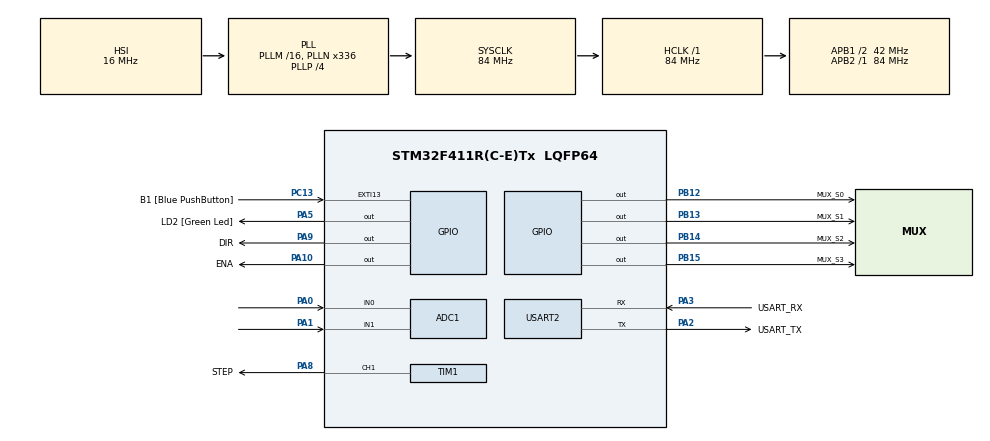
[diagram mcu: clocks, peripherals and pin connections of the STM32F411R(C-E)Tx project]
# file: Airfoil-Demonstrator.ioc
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ADC1.Channel-0\#ChannelRegularConversion=ADC_CHANNEL_0
ADC1.Channel-1\#ChannelRegularConversion=ADC_CHANNEL_1
ADC1.NbrOfConversion=2
ADC1.NbrOfConversionFlag=1
ADC1.Rank-0\#ChannelRegularConversion=1
ADC1.Rank-1\#ChannelRegularConversion=2
ADC1.SamplingTime-0\#ChannelRegularConversion=ADC_SAMPLETIME_480CYCLES
ADC1.SamplingTime-1\#ChannelRegularConversion=ADC_SAMPLETIME_480CYCLES
ADC1.ScanConvMode=ENABLE
ADC1.master=1
Mcu.Family=STM32F4
Mcu.Name=STM32F411R(C-E)Tx
Mcu.Package=LQFP64
NVIC.PriorityGroup=NVIC_PRIORITYGROUP_0
NVIC.TIM1_UP_TIM10_IRQn=true\:0\:0\:false\:false\:true\:true\:true\:true
NVIC.USART2_IRQn=true\:0\:0\:false\:false\:true\:true\:true\:true
PA0-WKUP.Signal=ADCx_IN0
PA1.Signal=ADCx_IN1
PA10.GPIO_Label=ENA
PA10.GPIO_ModeDefaultOutputPP=GPIO_MODE_OUTPUT_OD
PA10.GPIO_PuPd=GPIO_NOPULL
PA10.PinState=GPIO_PIN_SET
PA10.Signal=GPIO_Output
PA13.GPIO_Label=TMS
PA13.Mode=Serial_Wire
PA13.Signal=SYS_JTMS-SWDIO
PA14.GPIO_Label=TCK
PA14.Mode=Serial_Wire
PA14.Signal=SYS_JTCK-SWCLK
PA2.GPIO_Label=USART_TX
PA2.Mode=Asynchronous
PA2.Signal=USART2_TX
PA3.GPIO_Label=USART_RX
PA3.Mode=Asynchronous
PA3.Signal=USART2_RX
PA5.GPIO_Label=LD2 [Green Led]
PA5.Signal=GPIO_Output
PA8.GPIO_Label=STEP
PA8.Signal=S_TIM1_CH1
PA9.GPIO_Label=DIR
PA9.GPIO_ModeDefaultOutputPP=GPIO_MODE_OUTPUT_OD
PA9.GPIO_PuPd=GPIO_NOPULL
PA9.PinState=GPIO_PIN_SET
PA9.Signal=GPIO_Output
PB12.GPIO_Label=MUX_S0
PB12.Signal=GPIO_Output
PB13.GPIO_Label=MUX_S1
PB13.Signal=GPIO_Output
PB14.GPIO_Label=MUX_S2
PB14.Signal=GPIO_Output
PB15.GPIO_Label=MUX_S3
PB15.Signal=GPIO_Output
PB3.GPIO_Label=SWO
PB3.Signal=SYS_JTDO-SWO
PC13-ANTI_TAMP.GPIO_Label=B1 [Blue PushButton]
PC13-ANTI_TAMP.GPIO_ModeDefaultEXTI=GPIO_MODE_IT_FALLING
PC13-ANTI_TAMP.Signal=GPXTI13
PC14-OSC32_IN.Mode=LSE-External-Oscillator
PC14-OSC32_IN.Signal=RCC_OSC32_IN
PC15-OSC32_OUT.Mode=LSE-External-Oscillator
PC15-OSC32_OUT.Signal=RCC_OSC32_OUT
PH0\ -\ OSC_IN.Mode=HSE-External-Clock-Source
PH0\ -\ OSC_IN.Signal=RCC_OSC_IN
PH1\ -\ OSC_OUT.Mode=HSE-External-Clock-Source
PH1\ -\ OSC_OUT.Signal=RCC_OSC_OUT
ProjectManager.HeapSize=0x200
ProjectManager.StackSize=0x400
ProjectManager.TargetToolchain=STM32CubeIDE
RCC.48MHZClocksFreq_Value=84000000
RCC.AHBFreq_Value=84000000
RCC.APB1CLKDivider=RCC_HCLK_DIV2
RCC.APB1Freq_Value=42000000
RCC.APB1TimFreq_Value=84000000
RCC.APB2Freq_Value=84000000
RCC.APB2TimFreq_Value=84000000
RCC.CortexFreq_Value=84000000
RCC.FLatency-AdvancedSettings=FLASH_LATENCY_2
RCC.HCLKFreq_Value=84000000
RCC.HSE_VALUE=8000000
RCC.HSI_VALUE=16000000
RCC.PLLN=336
RCC.PLLP=RCC_PLLP_DIV4
RCC.SYSCLKFreq_VALUE=84000000
RCC.SYSCLKSource=RCC_SYSCLKSOURCE_PLLCLK
RCC.VCOOutputFreq_Value=336000000
SH.ADCx_IN0.0=ADC1_IN0,IN0
SH.ADCx_IN1.0=ADC1_IN1,IN1
SH.S_TIM1_CH1.0=TIM1_CH1,PWM Generation1 CH1
TIM1.Channel-PWM\ Generation1\ CH1=TIM_CHANNEL_1
TIM1.Period=999
TIM1.Prescaler=99
USART2.VirtualMode=VM_ASYNC
VP_TIM1_VS_ClockSourceINT.Mode=Internal
board=NUCLEO-F411RE

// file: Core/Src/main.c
/* USER CODE BEGIN Header */
/**
  ******************************************************************************
  * @file           : main.c
  * @brief          : Main program body
  ******************************************************************************
  * @attention
  *
  * Copyright (c) 2026 STMicroelectronics.
  * All rights reserved.
  *
  * This software is licensed under terms that can be found in the LICENSE file
  * in the root directory of this software component.
  * If no LICENSE file comes with this software, it is provided AS-IS.
  *
  ******************************************************************************
  */
/* USER CODE END Header */
#include "main.h"

/* USER CODE BEGIN Includes */
#include <math.h>
#include <stdio.h>
#include <string.h>
#include <stdlib.h>
/* USER CODE END Includes */

/* USER CODE BEGIN PD */

/* ---- Drive geometry -------------------------------------------------------
 * PULSES_PER_REV must match the CL86Y DIP switches.
 * GEAR_RATIO = wheel teeth / worm starts.
 *   80 teeth, single-start worm -> 80.0
 *   80 teeth, double-start worm -> 40.0
 */
#define PULSES_PER_REV   1600.0f
#define GEAR_RATIO       80.0f
#define STEPS_PER_DEG    (PULSES_PER_REV * GEAR_RATIO / 360.0f)

/* ---- Soft travel limits ---- */
#define AOA_MIN_DEG      -20.0f
#define AOA_MAX_DEG       20.0f

/* ---- Motion profile -------------------------------------------------------
 * Trapezoidal: start slow, accelerate to cruise, decelerate before arrival.
 * A NEMA 34 rotor going from rest to full rate in one step puts a shock
 * through the worm teeth, and the closed-loop driver has to work hard to
 * catch up. Ramping removes both problems and lets the cruise rate be much
 * higher than a fixed rate could safely be.
 *
 * At 5 kHz, 1600 pulses/rev and 80:1, the airfoil moves 14 deg/s, so a full
 * -20 to +20 sweep takes under three seconds.
 */
#define START_RATE_HZ    500u
#define MAX_RATE_HZ      5000u
#define RAMP_STEPS       800u       /* steps spent accelerating */

/* ---- Status stream period ---- */
#define STATUS_MS        100u

/* ---- DIR pin levels. Swap if positive angle drives the wrong way. ---- */
#define DIR_POSITIVE     GPIO_PIN_SET
#define DIR_NEGATIVE     GPIO_PIN_RESET

/* ---- MF (enable). High = opto dark = motor holding. ---- */
#define MOTOR_HOLD       GPIO_PIN_SET
#define MOTOR_RELEASE    GPIO_PIN_RESET

/* ---- Serial line buffer ---- */
#define RX_LINE_MAX      32u

/* ---- Mux scanning ---------------------------------------------------------
 * Two CD74HC4067s share the four select lines, so one address selects a
 * channel on both at once. Each scan step reads both SIG outputs, so 16
 * steps collect 32 channels of which 24 are used:
 *
 *   mux A (PA0) channels 0..11  -> upper surface taps  1..12
 *   mux B (PA1) channels 0..11  -> lower surface taps 13..24
 *   channels 12..15 on both     -> spare
 */
#define MUX_CHANNELS     16u
#define TAPS_PER_MUX     12u
#define MUX_SETTLE_US    10u

/* ---- Position storage -----------------------------------------------------
 * The worm is self-locking, so the airfoil cannot move while the motor is
 * off. That means the angle at power-down is still the angle at power-up,
 * and storing the step count is enough to survive a power cycle without any
 * homing hardware.
 *
 * Sector 7 of the F411RE is 128 KB at 0x08060000, well clear of the program.
 *
 * Records are appended rather than overwriting one location. Flash bits can
 * go 1 -> 0 without an erase, so a fresh record can be written into the next
 * blank slot; only when the sector fills does it need erasing. Erasing on
 * every save would wear the sector out after about ten thousand moves, which
 * is roughly 250 sweeps - reachable within a year of class use. Appending
 * pushes that out by four orders of magnitude.
 */
#define STORE_BASE       0x08060000UL
#define STORE_SECTOR     FLASH_SECTOR_7
#define STORE_SIZE       (128u * 1024u)
#define STORE_MAGIC      0xA5F00FA5UL
#define STORE_SLOTS      (STORE_SIZE / 8u)

/* USER CODE END PD */

ADC_HandleTypeDef hadc1;

TIM_HandleTypeDef htim1;

UART_HandleTypeDef huart2;

/* USER CODE BEGIN PV */
/* Motor state, shared with the TIM1 interrupt */
static volatile int32_t  pos_steps   = 0;
static volatile uint32_t steps_left  = 0;
static volatile uint32_t steps_total = 0;
static volatile uint32_t steps_done  = 0;
static volatile int8_t   step_dir    = 0;
static volatile uint8_t  save_due    = 0;   /* set by ISR, acted on in main */

/* Serial receive, shared with the UART interrupt */
static uint8_t          rx_byte;
static char             rx_line[RX_LINE_MAX];
static volatile uint8_t rx_len = 0;
static volatile uint8_t line_ready = 0;

/* Latest raw ADC counts.
 *   [0..15]  mux A channels 0..15
 *   [16..31] mux B channels 0..15
 */
static uint16_t raw[MUX_CHANNELS * 2];

/* Set by the 'R' command: stream all 32 channels instead of the 24 taps */
static uint8_t raw_mode = 0;

/* Last value written to flash, so unchanged positions are not rewritten */
static int32_t saved_pos = 0;
/* USER CODE END PV */

void SystemClock_Config(void);
static void MX_GPIO_Init(void);
static void MX_USART2_UART_Init(void);
static void MX_TIM1_Init(void);
static void MX_ADC1_Init(void);
/* USER CODE BEGIN PFP */
static void     motor_init(void);
static void     motor_apply_rate(uint32_t hz);
static uint32_t rate_for_step(uint32_t done, uint32_t total);
static int      motor_move_to(float deg);
static void     motor_stop(void);
static int      motor_busy(void);
static float    motor_angle(void);
static void     delay_us(uint32_t us);
static void     mux_select(uint8_t ch);
static void     scan_all(void);
static int32_t  store_load(void);
static void     store_save(int32_t value);
static void     uart_send(const char *s);
static void     send_status(void);
static void     handle_line(char *line);
/* USER CODE END PFP */

/* USER CODE BEGIN 0 */

/* ---- Position storage ----------------------------------------------------*/

/* Walk the sector and return the last valid record, or 0 if there is none. */
static int32_t store_load(void)
{
  const uint32_t *p = (const uint32_t *)STORE_BASE;
  int32_t found = 0;

  for (uint32_t i = 0; i < STORE_SLOTS; i++)
  {
    if (p[i * 2] != STORE_MAGIC) break;      /* first blank slot ends it */
    found = (int32_t)p[i * 2 + 1];
  }
  return found;
}

/* Append a record. Erases and restarts when the sector is full. */
static void store_save(int32_t value)
{
  const uint32_t *p = (const uint32_t *)STORE_BASE;

  uint32_t slot = 0;
  while (slot < STORE_SLOTS && p[slot * 2] == STORE_MAGIC) slot++;

  HAL_FLASH_Unlock();

  if (slot >= STORE_SLOTS)
  {
    FLASH_EraseInitTypeDef er = {0};
    uint32_t err = 0;
    er.TypeErase    = FLASH_TYPEERASE_SECTORS;
    er.Sector       = STORE_SECTOR;
    er.NbSectors    = 1;
    er.VoltageRange = FLASH_VOLTAGE_RANGE_3;
    HAL_FLASHEx_Erase(&er, &err);
    slot = 0;
  }

  uint32_t addr = STORE_BASE + slot * 8u;

  /* Value first, then magic. If power is lost between the two writes the
   * record has no magic and is simply ignored on the next boot, leaving the
   * previous record as the newest valid one.
   */
  HAL_FLASH_Program(FLASH_TYPEPROGRAM_WORD, addr + 4u, (uint32_t)value);
  HAL_FLASH_Program(FLASH_TYPEPROGRAM_WORD, addr, STORE_MAGIC);

  HAL_FLASH_Lock();
  saved_pos = value;
}

/* ---- Motor ---------------------------------------------------------------*/

static void motor_init(void)
{
  __HAL_TIM_SET_PRESCALER(&htim1, 83);          /* 84 MHz -> 1 MHz tick */
  motor_apply_rate(START_RATE_HZ);
  __HAL_TIM_ENABLE_IT(&htim1, TIM_IT_UPDATE);

  HAL_GPIO_WritePin(ENA_GPIO_Port, ENA_Pin, MOTOR_HOLD);
  HAL_GPIO_WritePin(DIR_GPIO_Port, DIR_Pin, DIR_POSITIVE);
}

/* With auto-reload preload enabled these take effect at the next update
 * event, so the pulse currently in flight is never truncated.
 */
static void motor_apply_rate(uint32_t hz)
{
  uint32_t arr = (1000000u / hz) - 1u;
  __HAL_TIM_SET_AUTORELOAD(&htim1, arr);
  __HAL_TIM_SET_COMPARE(&htim1, TIM_CHANNEL_1, (arr + 1u) / 2u);
}

/* Trapezoidal profile. Ramp length is halved for short moves so the
 * acceleration and deceleration phases never overlap.
 */
static uint32_t rate_for_step(uint32_t done, uint32_t total)
{
  uint32_t ramp = RAMP_STEPS;
  if (ramp > total / 2u) ramp = total / 2u;
  if (ramp == 0u) return START_RATE_HZ;     /* move too short to ramp */

  uint32_t remaining = total - done;
  uint32_t phase;

  if (done < ramp)            phase = done;         /* accelerating */
  else if (remaining <= ramp) phase = remaining;    /* decelerating */
  else                        return MAX_RATE_HZ;   /* cruising     */

  return START_RATE_HZ + (MAX_RATE_HZ - START_RATE_HZ) * phase / ramp;
}

/* Absolute move, non-blocking. Returns 0 on success, -1 if already moving.
 * Target is computed fresh from the angle every time, never accumulated, so
 * rounding error stays under one step however long the rig runs.
 */
static int motor_move_to(float deg)
{
  if (motor_busy()) return -1;

  if (deg < AOA_MIN_DEG) deg = AOA_MIN_DEG;
  if (deg > AOA_MAX_DEG) deg = AOA_MAX_DEG;

  int32_t target = (int32_t)lroundf(deg * STEPS_PER_DEG);
  int32_t delta  = target - pos_steps;
  if (delta == 0) return 0;

  step_dir = (delta > 0) ? 1 : -1;
  HAL_GPIO_WritePin(DIR_GPIO_Port, DIR_Pin,
                    (delta > 0) ? DIR_POSITIVE : DIR_NEGATIVE);

  for (volatile int i = 0; i < 500; i++) { __NOP(); }  /* DIR setup time */

  steps_total = (uint32_t)((delta > 0) ? delta : -delta);
  steps_done  = 0;
  steps_left  = steps_total;

  motor_apply_rate(START_RATE_HZ);
  __HAL_TIM_SET_COUNTER(&htim1, 0);
  HAL_TIM_PWM_Start(&htim1, TIM_CHANNEL_1);
  return 0;
}

static void motor_stop(void)
{
  HAL_TIM_PWM_Stop(&htim1, TIM_CHANNEL_1);
  steps_left = 0;
  save_due = 1;
}

static int motor_busy(void)
{
  return (steps_left > 0);
}

static float motor_angle(void)
{
  return (float)pos_steps / STEPS_PER_DEG;
}

/* One step per timer update. The rate for the next step is computed here,
 * which is what produces the ramp.
 */
void HAL_TIM_PeriodElapsedCallback(TIM_HandleTypeDef *htim)
{
  if (htim->Instance != TIM1) return;
  if (steps_left == 0) return;

  pos_steps += step_dir;
  steps_done++;
  steps_left--;

  if (steps_left == 0)
  {
    HAL_TIM_PWM_Stop(&htim1, TIM_CHANNEL_1);
    save_due = 1;                 /* flash write happens in the main loop */
  }
  else
  {
    motor_apply_rate(rate_for_step(steps_done, steps_total));
  }
}

/* ---- Mux scanning --------------------------------------------------------*/

/* Short busy-wait. HAL_Delay only resolves to 1 ms, which would stretch a
 * full scan from a few hundred microseconds to 16 ms.
 */
static void delay_us(uint32_t us)
{
  uint32_t cycles = us * (SystemCoreClock / 1000000u) / 4u;
  while (cycles--) { __NOP(); }
}

/* Write a 4-bit channel address. S0 is the least significant bit. Get this
 * backwards and every tap ends up at the wrong chord position, which is very
 * hard to spot once 24 tubes are connected.
 */
static void mux_select(uint8_t ch)
{
  HAL_GPIO_WritePin(MUX_S0_GPIO_Port, MUX_S0_Pin,
                    (ch & 0x01) ? GPIO_PIN_SET : GPIO_PIN_RESET);
  HAL_GPIO_WritePin(MUX_S1_GPIO_Port, MUX_S1_Pin,
                    (ch & 0x02) ? GPIO_PIN_SET : GPIO_PIN_RESET);
  HAL_GPIO_WritePin(MUX_S2_GPIO_Port, MUX_S2_Pin,
                    (ch & 0x04) ? GPIO_PIN_SET : GPIO_PIN_RESET);
  HAL_GPIO_WritePin(MUX_S3_GPIO_Port, MUX_S3_Pin,
                    (ch & 0x08) ? GPIO_PIN_SET : GPIO_PIN_RESET);
}

/* One full pass: 16 addresses, both ADC inputs read at each. */
static void scan_all(void)
{
  for (uint8_t ch = 0; ch < MUX_CHANNELS; ch++)
  {
    mux_select(ch);
    delay_us(MUX_SETTLE_US);

    HAL_ADC_Start(&hadc1);

    /* Rank 1 = PA0 = mux A */
    if (HAL_ADC_PollForConversion(&hadc1, 5) == HAL_OK)
      raw[ch] = (uint16_t)HAL_ADC_GetValue(&hadc1);

    /* Rank 2 = PA1 = mux B */
    if (HAL_ADC_PollForConversion(&hadc1, 5) == HAL_OK)
      raw[MUX_CHANNELS + ch] = (uint16_t)HAL_ADC_GetValue(&hadc1);

    HAL_ADC_Stop(&hadc1);
  }
}

/* ---- Serial --------------------------------------------------------------*/

static void uart_send(const char *s)
{
  HAL_UART_Transmit(&huart2, (const uint8_t *)s, strlen(s), HAL_MAX_DELAY);
}

/* Byte-at-a-time receive. CR or LF ends a line. The ISR only fills the
 * buffer and raises a flag; parsing happens in the main loop.
 */
void HAL_UART_RxCpltCallback(UART_HandleTypeDef *huart)
{
  if (huart->Instance != USART2) return;

  char c = (char)rx_byte;

  if (c == '\n' || c == '\r')
  {
    if (rx_len > 0 && !line_ready)
    {
      rx_line[rx_len] = '\0';
      line_ready = 1;
    }
    rx_len = 0;
  }
  else if (rx_len < RX_LINE_MAX - 1)
  {
    rx_line[rx_len++] = c;
  }
  else
  {
    rx_len = 0;                          /* overlong line: discard */
  }

  HAL_UART_Receive_IT(&huart2, &rx_byte, 1);   /* re-arm */
}

/* Status line.
 *
 *   normal:  S,<angle>,<moving>,<t1>..<t24>      the 24 tap channels
 *   raw:     S,<angle>,<moving>,<c0>..<c31>      every channel, both muxes
 *
 * Values are raw ADC counts, 0 to 4095. Converting to pressure happens on
 * the PC so the calibration can change without reflashing.
 */
static void send_status(void)
{
  char buf[320];
  int n = snprintf(buf, sizeof(buf), "S,%.3f,%d",
                   motor_angle(), motor_busy() ? 1 : 0);

  if (raw_mode)
  {
    for (uint8_t i = 0; i < MUX_CHANNELS * 2; i++)
      n += snprintf(buf + n, sizeof(buf) - n, ",%u", raw[i]);
  }
  else
  {
    for (uint8_t i = 0; i < TAPS_PER_MUX; i++)          /* upper surface */
      n += snprintf(buf + n, sizeof(buf) - n, ",%u", raw[i]);
    for (uint8_t i = 0; i < TAPS_PER_MUX; i++)          /* lower surface */
      n += snprintf(buf + n, sizeof(buf) - n, ",%u", raw[MUX_CHANNELS + i]);
  }

  snprintf(buf + n, sizeof(buf) - n, "\r\n");
  uart_send(buf);
}

/* ---- Command set ----------------------------------------------------------
 *  A<angle>   absolute move, e.g. A12.5 or A-7.25
 *  X          stop immediately
 *  Z          set current position as zero, and store it
 *  R          toggle raw channel streaming (32 values instead of 24)
 *  ?          identify
 */
static void handle_line(char *line)
{
  char cmd = line[0];

  if (cmd == 'A' || cmd == 'a')
  {
    char *end;
    float deg = strtof(line + 1, &end);
    if (end == line + 1)
    {
      uart_send("ERR,PARSE\r\n");
      return;
    }
    if (motor_move_to(deg) == 0) uart_send("OK\r\n");
    else                         uart_send("ERR,BUSY\r\n");
  }
  else if (cmd == 'X' || cmd == 'x')
  {
    motor_stop();
    uart_send("OK\r\n");
  }
  else if (cmd == 'Z' || cmd == 'z')
  {
    if (motor_busy())
    {
      uart_send("ERR,BUSY\r\n");
    }
    else
    {
      pos_steps = 0;
      store_save(0);
      uart_send("OK\r\n");
    }
  }
  else if (cmd == 'R' || cmd == 'r')
  {
    raw_mode = !raw_mode;
    uart_send(raw_mode ? "OK,RAW\r\n" : "OK,TAPS\r\n");
  }
  else if (cmd == '?')
  {
    uart_send("AFD,1.2\r\n");
  }
  else
  {
    uart_send("ERR,CMD\r\n");
  }
}

/* USER CODE END 0 */

int main(void)
{

  /* MCU Configuration--------------------------------------------------------*/

  /* Reset of all peripherals, Initializes the Flash interface and the Systick. */
  HAL_Init();

  /* Configure the system clock */
  SystemClock_Config();

  /* Initialize all configured peripherals */
  MX_GPIO_Init();
  MX_USART2_UART_Init();
  MX_TIM1_Init();
  MX_ADC1_Init();
  /* USER CODE BEGIN 2 */

  motor_init();

  /* Pick up where the last session left off. The self-locking worm means the
   * airfoil cannot have moved while the power was off.
   */
  pos_steps = store_load();
  saved_pos = pos_steps;

  HAL_UART_Receive_IT(&huart2, &rx_byte, 1);
  uart_send("AFD,1.2\r\n");

  uint32_t t_status = HAL_GetTick();

  /* USER CODE END 2 */

  /* Infinite loop */
  while (1)
  {

    /* USER CODE BEGIN 3 */

    scan_all();          /* a few hundred microseconds, runs continuously */

    /* Flash writes stall the CPU while they complete, which would delay the
     * step interrupt. Doing them here rather than in the ISR means they only
     * ever happen with the motor stationary.
     */
    if (save_due)
    {
      save_due = 0;
      if (pos_steps != saved_pos) store_save(pos_steps);
    }

    if (line_ready)
    {
      handle_line(rx_line);
      line_ready = 0;
    }

    if (HAL_GetTick() - t_status >= STATUS_MS)
    {
      t_status = HAL_GetTick();
      send_status();
    }
  }
  /* USER CODE END 3 */
}

void SystemClock_Config(void)
{
  RCC_OscInitTypeDef RCC_OscInitStruct = {0};
  RCC_ClkInitTypeDef RCC_ClkInitStruct = {0};

  /** Configure the main internal regulator output voltage
  */
  __HAL_RCC_PWR_CLK_ENABLE();
  __HAL_PWR_VOLTAGESCALING_CONFIG(PWR_REGULATOR_VOLTAGE_SCALE1);

  /** Initializes the RCC Oscillators according to the specified parameters
  * in the RCC_OscInitTypeDef structure.
  */
  RCC_OscInitStruct.OscillatorType = RCC_OSCILLATORTYPE_HSI;
  RCC_OscInitStruct.HSIState = RCC_HSI_ON;
  RCC_OscInitStruct.HSICalibrationValue = RCC_HSICALIBRATION_DEFAULT;
  RCC_OscInitStruct.PLL.PLLState = RCC_PLL_ON;
  RCC_OscInitStruct.PLL.PLLSource = RCC_PLLSOURCE_HSI;
  RCC_OscInitStruct.PLL.PLLM = 16;
  RCC_OscInitStruct.PLL.PLLN = 336;
  RCC_OscInitStruct.PLL.PLLP = RCC_PLLP_DIV4;
  RCC_OscInitStruct.PLL.PLLQ = 4;
  if (HAL_RCC_OscConfig(&RCC_OscInitStruct) != HAL_OK)
  {
    Error_Handler();
  }

  /** Initializes the CPU, AHB and APB buses clocks
  */
  RCC_ClkInitStruct.ClockType = RCC_CLOCKTYPE_HCLK|RCC_CLOCKTYPE_SYSCLK
                              |RCC_CLOCKTYPE_PCLK1|RCC_CLOCKTYPE_PCLK2;
  RCC_ClkInitStruct.SYSCLKSource = RCC_SYSCLKSOURCE_PLLCLK;
  RCC_ClkInitStruct.AHBCLKDivider = RCC_SYSCLK_DIV1;
  RCC_ClkInitStruct.APB1CLKDivider = RCC_HCLK_DIV2;
  RCC_ClkInitStruct.APB2CLKDivider = RCC_HCLK_DIV1;

  if (HAL_RCC_ClockConfig(&RCC_ClkInitStruct, FLASH_LATENCY_2) != HAL_OK)
  {
    Error_Handler();
  }
}

static void MX_ADC1_Init(void)
{

  ADC_ChannelConfTypeDef sConfig = {0};

  /** Configure the global features of the ADC (Clock, Resolution, Data
  * Alignment and number of conversions)
  */
  hadc1.Instance = ADC1;
  hadc1.Init.ClockPrescaler = ADC_CLOCK_SYNC_PCLK_DIV4;
  hadc1.Init.Resolution = ADC_RESOLUTION_12B;
  hadc1.Init.ScanConvMode = ENABLE;
  hadc1.Init.ContinuousConvMode = DISABLE;
  hadc1.Init.DiscontinuousConvMode = DISABLE;
  hadc1.Init.ExternalTrigConvEdge = ADC_EXTERNALTRIGCONVEDGE_NONE;
  hadc1.Init.ExternalTrigConv = ADC_SOFTWARE_START;
  hadc1.Init.DataAlign = ADC_DATAALIGN_RIGHT;
  hadc1.Init.NbrOfConversion = 2;
  hadc1.Init.DMAContinuousRequests = DISABLE;
  hadc1.Init.EOCSelection = ADC_EOC_SINGLE_CONV;
  if (HAL_ADC_Init(&hadc1) != HAL_OK)
  {
    Error_Handler();
  }

  /** Configure for the selected ADC regular channel its corresponding rank in
  * the sequencer and its sample time.
  */
  sConfig.Channel = ADC_CHANNEL_0;
  sConfig.Rank = 1;
  sConfig.SamplingTime = ADC_SAMPLETIME_480CYCLES;
  if (HAL_ADC_ConfigChannel(&hadc1, &sConfig) != HAL_OK)
  {
    Error_Handler();
  }

  /** Configure for the selected ADC regular channel its corresponding rank in
  * the sequencer and its sample time.
  */
  sConfig.Channel = ADC_CHANNEL_1;
  sConfig.Rank = 2;
  if (HAL_ADC_ConfigChannel(&hadc1, &sConfig) != HAL_OK)
  {
    Error_Handler();
  }

}

static void MX_TIM1_Init(void)
{

  TIM_ClockConfigTypeDef sClockSourceConfig = {0};
  TIM_MasterConfigTypeDef sMasterConfig = {0};
  TIM_OC_InitTypeDef sConfigOC = {0};
  TIM_BreakDeadTimeConfigTypeDef sBreakDeadTimeConfig = {0};

  htim1.Instance = TIM1;
  htim1.Init.Prescaler = 99;
  htim1.Init.CounterMode = TIM_COUNTERMODE_UP;
  htim1.Init.Period = 999;
  htim1.Init.ClockDivision = TIM_CLOCKDIVISION_DIV1;
  htim1.Init.RepetitionCounter = 0;
  htim1.Init.AutoReloadPreload = TIM_AUTORELOAD_PRELOAD_ENABLE;
  if (HAL_TIM_Base_Init(&htim1) != HAL_OK)
  {
    Error_Handler();
  }
  sClockSourceConfig.ClockSource = TIM_CLOCKSOURCE_INTERNAL;
  if (HAL_TIM_ConfigClockSource(&htim1, &sClockSourceConfig) != HAL_OK)
  {
    Error_Handler();
  }
  if (HAL_TIM_PWM_Init(&htim1) != HAL_OK)
  {
    Error_Handler();
  }
  sMasterConfig.MasterOutputTrigger = TIM_TRGO_RESET;
  sMasterConfig.MasterSlaveMode = TIM_MASTERSLAVEMODE_DISABLE;
  if (HAL_TIMEx_MasterConfigSynchronization(&htim1, &sMasterConfig) != HAL_OK)
  {
    Error_Handler();
  }
  sConfigOC.OCMode = TIM_OCMODE_PWM1;
  sConfigOC.Pulse = 0;
  sConfigOC.OCPolarity = TIM_OCPOLARITY_HIGH;
  sConfigOC.OCNPolarity = TIM_OCNPOLARITY_HIGH;
  sConfigOC.OCFastMode = TIM_OCFAST_DISABLE;
  sConfigOC.OCIdleState = TIM_OCIDLESTATE_RESET;
  sConfigOC.OCNIdleState = TIM_OCNIDLESTATE_RESET;
  if (HAL_TIM_PWM_ConfigChannel(&htim1, &sConfigOC, TIM_CHANNEL_1) != HAL_OK)
  {
    Error_Handler();
  }
  sBreakDeadTimeConfig.OffStateRunMode = TIM_OSSR_DISABLE;
  sBreakDeadTimeConfig.OffStateIDLEMode = TIM_OSSI_DISABLE;
  sBreakDeadTimeConfig.LockLevel = TIM_LOCKLEVEL_OFF;
  sBreakDeadTimeConfig.DeadTime = 0;
  sBreakDeadTimeConfig.BreakState = TIM_BREAK_DISABLE;
  sBreakDeadTimeConfig.BreakPolarity = TIM_BREAKPOLARITY_HIGH;
  sBreakDeadTimeConfig.AutomaticOutput = TIM_AUTOMATICOUTPUT_DISABLE;
  if (HAL_TIMEx_ConfigBreakDeadTime(&htim1, &sBreakDeadTimeConfig) != HAL_OK)
  {
    Error_Handler();
  }
  HAL_TIM_MspPostInit(&htim1);

}

static void MX_USART2_UART_Init(void)
{

  huart2.Instance = USART2;
  huart2.Init.BaudRate = 115200;
  huart2.Init.WordLength = UART_WORDLENGTH_8B;
  huart2.Init.StopBits = UART_STOPBITS_1;
  huart2.Init.Parity = UART_PARITY_NONE;
  huart2.Init.Mode = UART_MODE_TX_RX;
  huart2.Init.HwFlowCtl = UART_HWCONTROL_NONE;
  huart2.Init.OverSampling = UART_OVERSAMPLING_16;
  if (HAL_UART_Init(&huart2) != HAL_OK)
  {
    Error_Handler();
  }

}

static void MX_GPIO_Init(void)
{
  GPIO_InitTypeDef GPIO_InitStruct = {0};

  /* GPIO Ports Clock Enable */
  __HAL_RCC_GPIOC_CLK_ENABLE();
  __HAL_RCC_GPIOH_CLK_ENABLE();
  __HAL_RCC_GPIOA_CLK_ENABLE();
  __HAL_RCC_GPIOB_CLK_ENABLE();

  /*Configure GPIO pin Output Level */
  HAL_GPIO_WritePin(LD2_GPIO_Port, LD2_Pin, GPIO_PIN_RESET);

  /*Configure GPIO pin Output Level */
  HAL_GPIO_WritePin(GPIOA, DIR_Pin|ENA_Pin, GPIO_PIN_SET);

  /*Configure GPIO pin Output Level */
  HAL_GPIO_WritePin(GPIOB, MUX_S0_Pin|MUX_S1_Pin|MUX_S2_Pin|MUX_S3_Pin,
                    GPIO_PIN_RESET);

  /*Configure GPIO pin : B1_Pin */
  GPIO_InitStruct.Pin = B1_Pin;
  GPIO_InitStruct.Mode = GPIO_MODE_IT_FALLING;
  GPIO_InitStruct.Pull = GPIO_NOPULL;
  HAL_GPIO_Init(B1_GPIO_Port, &GPIO_InitStruct);

  /*Configure GPIO pin : LD2_Pin */
  GPIO_InitStruct.Pin = LD2_Pin;
  GPIO_InitStruct.Mode = GPIO_MODE_OUTPUT_PP;
  GPIO_InitStruct.Pull = GPIO_NOPULL;
  GPIO_InitStruct.Speed = GPIO_SPEED_FREQ_LOW;
  HAL_GPIO_Init(LD2_GPIO_Port, &GPIO_InitStruct);

  /*Configure GPIO pins : DIR_Pin ENA_Pin */
  GPIO_InitStruct.Pin = DIR_Pin|ENA_Pin;
  GPIO_InitStruct.Mode = GPIO_MODE_OUTPUT_OD;
  GPIO_InitStruct.Pull = GPIO_NOPULL;
  GPIO_InitStruct.Speed = GPIO_SPEED_FREQ_LOW;
  HAL_GPIO_Init(GPIOA, &GPIO_InitStruct);

  /*Configure GPIO pins : MUX_S0_Pin MUX_S1_Pin MUX_S2_Pin MUX_S3_Pin */
  GPIO_InitStruct.Pin = MUX_S0_Pin|MUX_S1_Pin|MUX_S2_Pin|MUX_S3_Pin;
  GPIO_InitStruct.Mode = GPIO_MODE_OUTPUT_PP;
  GPIO_InitStruct.Pull = GPIO_NOPULL;
  GPIO_InitStruct.Speed = GPIO_SPEED_FREQ_LOW;
  HAL_GPIO_Init(GPIOB, &GPIO_InitStruct);

}

void Error_Handler(void)
{
  __disable_irq();
  while (1)
  {
  }
}
